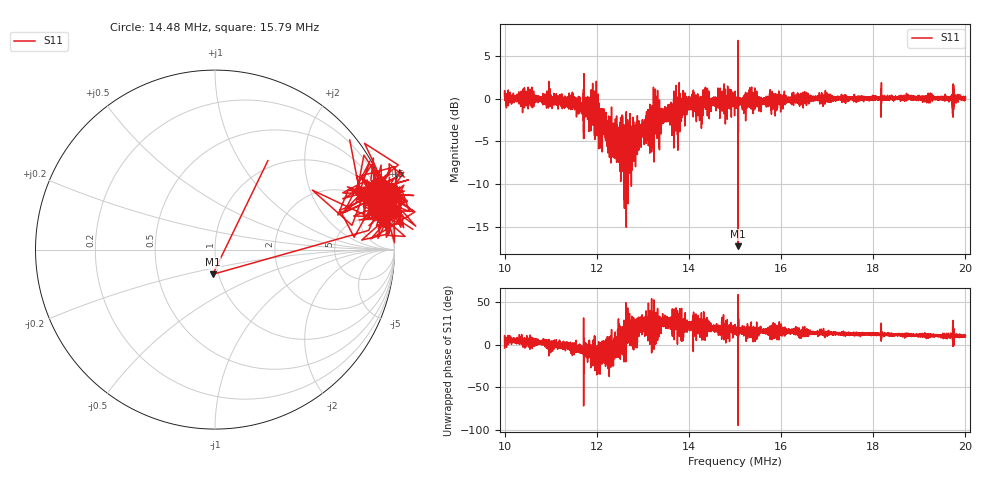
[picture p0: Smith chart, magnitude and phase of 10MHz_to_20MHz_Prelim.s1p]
# HZ S RI R 50
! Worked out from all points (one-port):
!   20200 points, 10 MHz to 20 MHz, reference 50 ohm
!   lowest |S11| = -17.2 dB at 15.07 MHz (marker M1), VSWR 1.32, Z = 47 - j13.2 ohm
!   |S11| at or under -10 dB: 12.59023 MHz to 12.59046 MHz (229.1 Hz wide, 0.00182 % of centre); 12.59953 MHz to 12.59991 MHz (373 Hz wide, 0.00296 % of centre); 12.67984 MHz to 12.68056 MHz (725.3 Hz wide, 0.00572 % of centre)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
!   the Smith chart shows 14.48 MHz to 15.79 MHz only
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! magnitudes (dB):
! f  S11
! 10 MHz  0.6
! 10.07 MHz  0.1
! 10.95 MHz  -0.3
! 11.25 MHz  -0.3
! 11.66 MHz  -0.7
! 11.95 MHz  -0.5
! 12.16 MHz  -2.3
! 12.26 MHz  -4.3
! 12.39 MHz  -4.1
! 12.46 MHz  -5.4
! 12.5 MHz  -4.6
! 12.66 MHz  -5.3
! 12.71 MHz  -4.2
! 12.8 MHz  -2.7
! 13 MHz  -3.8
! 13.22 MHz  -2.3
! 13.31 MHz  -4.6
! 13.4 MHz  -1.1
! 13.75 MHz  -4.2
! 13.97 MHz  -0.9
! 14.38 MHz  -0.1
! 14.9 MHz  0.2
! 15 MHz  0.3
! 15.07 MHz  -17.2
! 16.25 MHz  0.1
! 17.5 MHz  -0.1
! 18.75 MHz  0.0
! 20 MHz  0.0
